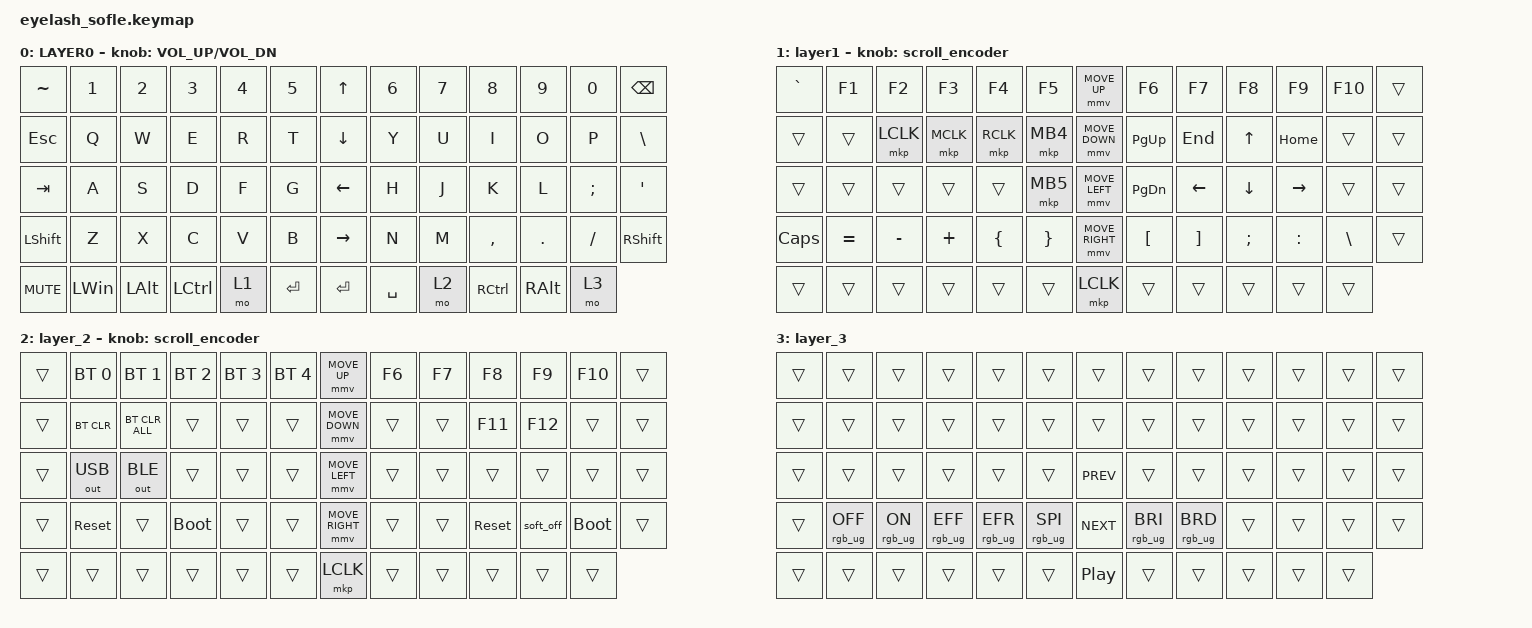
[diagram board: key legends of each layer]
#define ZMK_POINTING_DEFAULT_MOVE_VAL 1200  // 600
#define ZMK_POINTING_DEFAULT_SCRL_VAL 35    // 10

#include <input/processors.dtsi>
#include <zephyr/dt-bindings/input/input-event-codes.h>
#include <behaviors.dtsi>
#include <dt-bindings/zmk/bt.h>
#include <dt-bindings/zmk/keys.h>
#include <dt-bindings/zmk/outputs.h>
#include <dt-bindings/zmk/pointing.h>
#include <dt-bindings/zmk/pointing.h>
#include <dt-bindings/zmk/pointing.h>
#include <dt-bindings/zmk/rgb.h>

/ {
    zip_scroll_scaler: zip_scroll_scaler {
        compatible = "zmk,input-processor-scaler";
        #input-processor-cells = <2>;
        type = <INPUT_EV_REL>;
        codes = <INPUT_REL_WHEEL INPUT_REL_HWHEEL>;
        track-remainders;
    };
};

&mmv_input_listener { input-processors = <&zip_xy_scaler 2 1>; };

&msc_input_listener { input-processors = <&zip_scroll_scaler 2 1>; };

&msc {
    acceleration-exponent = <0>;      // 0
    time-to-max-speed-ms = <0>;       // 300
    delay-ms = <0>;                   // 0
};

&mmv {
    time-to-max-speed-ms = <400>;
    acceleration-exponent = <1>;
};

/ {
    scroll_encoder: scroll_encoder {
        compatible = "zmk,behavior-sensor-rotate";
        #sensor-binding-cells = <0>;
        bindings = <&msc SCRL_DOWN>, <&msc SCRL_UP>;

        tap-ms = <30>;
    };

    behaviors {
    };

    keymap {
        compatible = "zmk,keymap";

        // ─────────────────────────────────────────────────────────
        // LAYER 0
        // Replaced &kp K_SELECT with &mo 3 in the thumb row
        // ─────────────────────────────────────────────────────────

        layer0 {
            bindings = <
&kp TILDE   &kp N1        &kp N2        &kp N3     &kp N4  &kp N5       &kp UP_ARROW     &kp N6     &kp N7  &kp N8             &kp N9         &kp N0    &kp BACKSPACE
&kp ESC     &kp Q         &kp W         &kp E      &kp R   &kp T        &kp DOWN_ARROW   &kp Y      &kp U   &kp I              &kp O          &kp P     &kp BSLH
&kp TAB     &kp A         &kp S         &kp D      &kp F   &kp G        &kp LEFT_ARROW   &kp H      &kp J   &kp K              &kp L          &kp SEMI  &kp APOS
&kp LSHFT   &kp Z         &kp X         &kp C      &kp V   &kp B        &kp RIGHT_ARROW  &kp N      &kp M   &kp COMMA          &kp DOT        &kp FSLH  &kp RIGHT_SHIFT
&kp C_MUTE  &kp LEFT_WIN  &kp LEFT_ALT  &kp LCTRL  &mo 1   &kp ENTER    &kp ENTER        &kp SPACE  &mo 2   &kp RIGHT_CONTROL  &kp RIGHT_ALT  &mo 3
            >;

            sensor-bindings = <&inc_dec_kp C_VOLUME_UP C_VOL_DN>;
            display-name = "LAYER0";
        };

        // ─────────────────────────────────────────────────────────
        // LAYER 1
        // Removed RGB keys from row 3 and replaced with “=, -, +, {, }” on left side
        // and “[, ], ;, :, \” on the right side.
        // ─────────────────────────────────────────────────────────

        layer_1 {
            bindings = <
&kp GRAVE  &kp F1     &kp F2     &kp F3     &kp F4     &kp F5      &mmv MOVE_UP     &kp F6     &kp F7    &kp F8    &kp F9     &kp F10   &trans
&trans     &trans     &mkp LCLK  &mkp MCLK  &mkp RCLK  &mkp MB4    &mmv MOVE_DOWN   &kp PG_UP  &kp END   &kp UP    &kp HOME   &trans    &trans
&trans     &trans     &trans     &trans     &trans     &mkp MB5    &mmv MOVE_LEFT   &kp PG_DN  &kp LEFT  &kp DOWN  &kp RIGHT  &trans    &trans
&kp CAPS   &kp EQUAL  &kp MINUS  &kp PLUS   &kp LBRC   &kp RBRC    &mmv MOVE_RIGHT  &kp LBKT   &kp RBKT  &kp SEMI  &kp COLON  &kp BSLH  &trans
&trans     &trans     &trans     &trans     &trans     &trans      &mkp LCLK        &trans     &trans    &trans    &trans     &trans
            >;

            display-name = "layer1";
            sensor-bindings = <&scroll_encoder>;
        };

        // ─────────────────────────────────────────────────────────
        // LAYER 2
        // No changes here (besides the existing code).
        // ─────────────────────────────────────────────────────────

        layer_2 {
            bindings = <
&trans  &bt BT_SEL 0  &bt BT_SEL 1    &bt BT_SEL 2  &bt BT_SEL 3  &bt BT_SEL 4    &mmv MOVE_UP     &kp F6  &kp F7  &kp F8      &kp F9     &kp F10      &trans
&trans  &bt BT_CLR    &bt BT_CLR_ALL  &trans        &trans        &trans          &mmv MOVE_DOWN   &trans  &trans  &kp F11     &kp F12    &trans       &trans
&trans  &out OUT_USB  &out OUT_BLE    &trans        &trans        &trans          &mmv MOVE_LEFT   &trans  &trans  &trans      &trans     &trans       &trans
&trans  &sys_reset    &trans          &bootloader   &trans        &trans          &mmv MOVE_RIGHT  &trans  &trans  &sys_reset  &soft_off  &bootloader  &trans
&trans  &trans        &trans          &trans        &trans        &trans          &mkp LCLK        &trans  &trans  &trans      &trans     &trans
            >;

            sensor-bindings = <&scroll_encoder>;
        };

        // ─────────────────────────────────────────────────────────
        // LAYER 3
        // Inserted the old RGB row from layer1 row 3 into row 3 here.
        // ─────────────────────────────────────────────────────────

        layer_3 {
            bindings = <
&trans  &trans           &trans          &trans           &trans           &trans             &trans      &trans           &trans           &trans  &trans  &trans  &trans
&trans  &trans           &trans          &trans           &trans           &trans             &trans      &trans           &trans           &trans  &trans  &trans  &trans
&trans  &trans           &trans          &trans           &trans           &trans             &kp C_PREV  &trans           &trans           &trans  &trans  &trans  &trans
&trans  &rgb_ug RGB_OFF  &rgb_ug RGB_ON  &rgb_ug RGB_EFF  &rgb_ug RGB_EFR  &rgb_ug RGB_SPI    &kp C_NEXT  &rgb_ug RGB_BRI  &rgb_ug RGB_BRD  &trans  &trans  &trans  &trans
&trans  &trans           &trans          &trans           &trans           &trans             &kp C_PP    &trans           &trans           &trans  &trans  &trans
            >;
        };
    };
};
